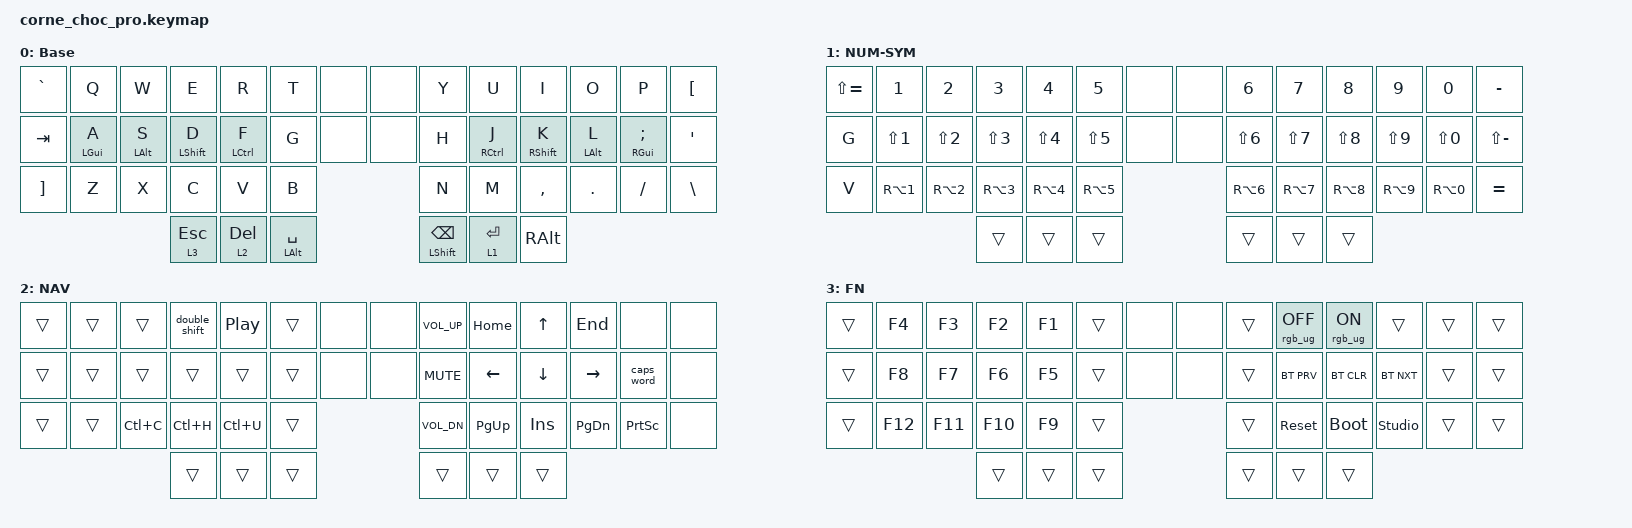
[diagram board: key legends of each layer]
#include <behaviors.dtsi>
#include <dt-bindings/zmk/bt.h>
#include <dt-bindings/zmk/keys.h>
#include <dt-bindings/zmk/rgb.h>
#include "46.h"

#define BASE      0
#define NUM_SYM   1
#define NAV       2
#define FN        3

&caps_word { continue-list = <UNDERSCORE BACKSPACE DELETE PERIOD COMMA FSLH APOS SEMI RBKT LBKT>; };

/ {
    chosen { zmk,physical-layout = &default_layout; };
};

/ {
    combos {
        compatible = "zmk,combos";

        cmd {
            key-positions = <LH0 LH1>;
            bindings = <&kp LGUI>;
        };
    };

    behaviors {
        mon_hml: home_row_mod_left {
            compatible = "zmk,behavior-hold-tap";
            #binding-cells = <2>;
            flavor = "balanced";
            require-prior-idle-ms = <150>;
            tapping-term-ms = <280>;
            quick-tap-ms = <175>;
            bindings = <&kp>, <&kp>;

            hold-trigger-key-positions = <KEYS_R THUMBS>;
            hold-trigger-on-release;
        };

        mon_hmr: home_row_mods_right {
            compatible = "zmk,behavior-hold-tap";
            #binding-cells = <2>;
            flavor = "balanced";
            require-prior-idle-ms = <150>;
            tapping-term-ms = <280>;
            quick-tap-ms = <175>;
            bindings = <&kp>, <&kp>;

            hold-trigger-key-positions = <KEYS_L THUMBS>;
            hold-trigger-on-release;
        };
    };

    macros {
        double_shift: double_shift {
            compatible = "zmk,behavior-macro";
            #binding-cells = <0>;
            bindings = <&kp LEFT_SHIFT &kp LEFT_SHIFT>;
            label = "DOUBLE_SHIFT";
        };
    };

    keymap {
        compatible = "zmk,keymap";

        Base {
            display-name = "Base";
            bindings = <
&kp GRAVE  &kp Q                &kp W                &kp E                  &kp R             &kp T           &none  &none  &kp Y                     &kp U                     &kp I                   &kp O                &kp P                    &kp LBKT
&kp TAB    &mon_hml LEFT_GUI A  &mon_hml LEFT_ALT S  &mon_hml LEFT_SHIFT D  &mon_hml LCTRL F  &kp G           &none  &none  &kp H                     &mon_hmr RIGHT_CONTROL J  &mon_hmr RIGHT_SHIFT K  &mon_hmr LEFT_ALT L  &mon_hmr RIGHT_GUI SEMI  &kp APOS
&kp RBKT   &kp Z                &kp X                &kp C                  &kp V             &kp B                         &kp N                     &kp M                     &kp COMMA               &kp PERIOD           &kp FSLH                 &kp BSLH
                                                     &lt 3 ESC              &lt 2 DEL         &mt LALT SPACE                &mt LEFT_SHIFT BACKSPACE  &lt 1 RET                 &kp RALT
            >;
        };

        NumSym {
            display-name = "NUM-SYM";
            bindings = <
&kp LS(EQUAL)  &kp N1      &kp N2      &kp N3      &kp N4      &kp N5      &none  &none  &kp N6      &kp N7      &kp N8      &kp N9      &kp N0      &kp MINUS
&kp G          &kp LS(N1)  &kp LS(N2)  &kp LS(N3)  &kp LS(N4)  &kp LS(N5)  &none  &none  &kp LS(N6)  &kp LS(N7)  &kp LS(N8)  &kp LS(N9)  &kp LS(N0)  &kp LS(MINUS)
&kp V          &kp RA(N1)  &kp RA(N2)  &kp RA(N3)  &kp RA(N4)  &kp RA(N5)                &kp RA(N6)  &kp RA(N7)  &kp RA(N8)  &kp RA(N9)  &kp RA(N0)  &kp EQUAL
                                       &trans      &trans      &trans                    &trans      &trans      &trans
            >;
        };

        Nav {
            display-name = "NAV";
            bindings = <
&trans  &trans  &trans     &double_shift  &kp C_PLAY_PAUSE  &trans  &none  &none  &kp C_VOL_UP  &kp HOME   &kp UP    &kp END    &none       &none
&trans  &trans  &trans     &trans         &trans            &trans  &none  &none  &kp C_MUTE    &kp LEFT   &kp DOWN  &kp RIGHT  &caps_word  &none
&trans  &trans  &kp LC(C)  &kp LC(H)      &kp LC(U)         &trans                &kp C_VOL_DN  &kp PG_UP  &kp INS   &kp PG_DN  &kp PSCRN   &none
                           &trans         &trans            &trans                &trans        &trans     &trans
            >;
        };

        Fonctions {
            display-name = "FN";
            bindings = <
&trans  &kp F4   &kp F3   &kp F2   &kp F1  &trans  &none  &none  &trans  &rgb_ug RGB_OFF  &rgb_ug RGB_ON  &trans          &trans  &trans
&trans  &kp F8   &kp F7   &kp F6   &kp F5  &trans  &none  &none  &trans  &bt BT_PRV       &bt BT_CLR      &bt BT_NXT      &trans  &trans
&trans  &kp F12  &kp F11  &kp F10  &kp F9  &trans                &trans  &sys_reset       &bootloader     &studio_unlock  &trans  &trans
                          &trans   &trans  &trans                &trans  &trans           &trans
            >;
        };
    };
};
